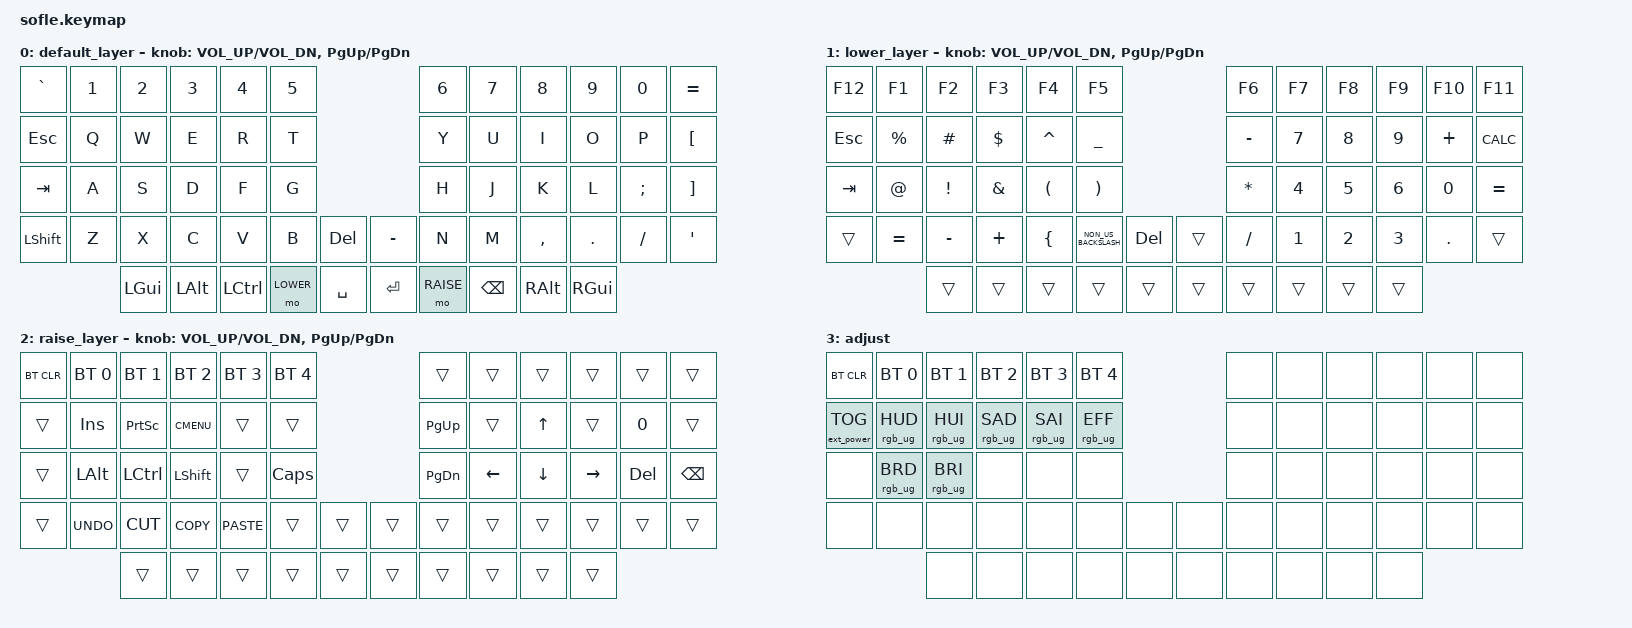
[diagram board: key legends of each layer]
/*
 * Copyright (c) 2020 The ZMK Contributors
 *
 * SPDX-License-Identifier: MIT
 */

#include <behaviors.dtsi>
#include <dt-bindings/zmk/bt.h>
#include <dt-bindings/zmk/ext_power.h>
#include <dt-bindings/zmk/keys.h>
#include <dt-bindings/zmk/rgb.h>

#define BASE 0
#define LOWER 1
#define RAISE 2
#define ADJUST 3

/ {
    // Activate ADJUST layer by pressing raise and lower

    conditional_layers {
        compatible = "zmk,conditional-layers";

        adjust_layer {
            if-layers = <LOWER RAISE>;
            then-layer = <ADJUST>;
        };
    };

    keymap {
        compatible = "zmk,keymap";

        default_layer {
            // ------------------------------------------------------------------------------------------------------------
            // |   `   |  1  |  2  |  3   |  4   |  5   |                   |  6   |  7    |  8    |  9   |   0   |       |
            // |  ESC  |  Q  |  W  |  E   |  R   |  T   |                   |  Y   |  U    |  I    |  O   |   P   | BKSPC |
            // |  TAB  |  A  |  S  |  D   |  F   |  G   |                   |  H   |  J    |  K    |  L   |   ;   |   '   |
            // | SHIFT |  Z  |  X  |  C   |  V   |  B   |  MUTE  |  |       |  N   |  M    |  ,    |  .   |   /   | SHIFT |
            //               | GUI | ALT  | CTRL | LOWER|  ENTER |  | SPACE | RAISE| CTRL  | ALT   | GUI  |

            bindings = <
&kp GRAVE  &kp N1  &kp N2    &kp N3    &kp N4     &kp N5                             &kp N6     &kp N7         &kp N8     &kp N9    &kp N0    &kp EQUAL
&kp ESC    &kp Q   &kp W     &kp E     &kp R      &kp T                              &kp Y      &kp U          &kp I      &kp O     &kp P     &kp LBKT
&kp TAB    &kp A   &kp S     &kp D     &kp F      &kp G                              &kp H      &kp J          &kp K      &kp L     &kp SEMI  &kp RBKT
&kp LSHFT  &kp Z   &kp X     &kp C     &kp V      &kp B      &kp DEL      &kp MINUS  &kp N      &kp M          &kp COMMA  &kp DOT   &kp FSLH  &kp SQT
                   &kp LGUI  &kp LALT  &kp LCTRL  &mo LOWER  &kp SPACE    &kp ENTER  &mo RAISE  &kp BACKSPACE  &kp RALT   &kp RGUI
            >;

            sensor-bindings = <&inc_dec_kp C_VOL_UP C_VOL_DN &inc_dec_kp PG_UP PG_DN>;
        };

        lower_layer {
            // TODO: Some binds are waiting for shifted keycode support.
            // ------------------------------------------------------------------------------------------------------------
            // |       |  F1 |  F2 |  F3  |  F4  |  F5  |                   |  F6  |  F7   |  F8   |  F9  |  F10  |  F11  |
            // |   `   |  1  |  2  |  3   |  4   |  5   |                   |  6   |  7    |  8    |  9   |   0   |  F12  |
            // |       |  !  |  @  |  #   |  $   |  %   |                   |  ^   |  &    |  *    |  (   |   )   |   |   |
            // |       |  =  |  -  |  +   |  {   |  }   |        |  |       |  [   |  ]    |  ;    |  :   |   \   |       |
            //               |     |      |      |      |        |  |       |      |       |       |      |

            bindings = <
&kp F12     &kp F1     &kp F2     &kp F3    &kp F4     &kp F5                                   &kp F6        &kp F7        &kp F8        &kp F9        &kp F10       &kp F11
&kp ESCAPE  &kp PRCNT  &kp HASH   &kp DLLR  &kp CARET  &kp UNDER                                &kp MINUS     &kp N7        &kp N8        &kp N9        &kp PLUS      &kp K_CALC
&kp TAB     &kp AT     &kp EXCL   &kp AMPS  &kp LPAR   &kp RPAR                                 &kp ASTERISK  &kp NUMBER_4  &kp NUMBER_5  &kp NUMBER_6  &kp NUMBER_0  &kp EQUAL
&trans      &kp EQUAL  &kp MINUS  &kp PLUS  &kp LBRC   &kp NON_US_BACKSLASH  &kp DEL    &trans  &kp SLASH     &kp NUMBER_1  &kp NUMBER_2  &kp NUMBER_3  &kp PERIOD    &trans
                       &trans     &trans    &trans     &trans                &trans     &trans  &trans        &trans        &trans        &trans
            >;

            sensor-bindings = <&inc_dec_kp C_VOL_UP C_VOL_DN &inc_dec_kp PG_UP PG_DN>;
        };

        raise_layer {
            // ------------------------------------------------------------------------------------------------------------
            // | BTCLR | BT1  | BT2  |  BT3  |  BT4  |  BT5 |                |      |      |       |      |       |       |
            // |       | INS  | PSCR | GUI   |       |      |                | PGUP |      |   ^   |      |       |       |
            // |       | ALT  | CTRL | SHIFT |       | CAPS |                | PGDN |   <- |   v   |  ->  |  DEL  | BKSPC |
            // |       | UNDO | CUT  | COPY  | PASTE |      |      |  |      |      |      |       |      |       |       |
            //                |      |       |       |      |      |  |      |      |      |       |      |

            bindings = <
&bt BT_CLR  &bt BT_SEL 0  &bt BT_SEL 1  &bt BT_SEL 2  &bt BT_SEL 3  &bt BT_SEL 4                    &trans     &trans    &trans    &trans     &trans   &trans
&trans      &kp INS       &kp PSCRN     &kp K_CMENU   &trans        &trans                          &kp PG_UP  &trans    &kp UP    &trans     &kp N0   &trans
&trans      &kp LALT      &kp LCTRL     &kp LSHFT     &trans        &kp CLCK                        &kp PG_DN  &kp LEFT  &kp DOWN  &kp RIGHT  &kp DEL  &kp BSPC
&trans      &kp K_UNDO    &kp K_CUT     &kp K_COPY    &kp K_PASTE   &trans        &trans    &trans  &trans     &trans    &trans    &trans     &trans   &trans
                          &trans        &trans        &trans        &trans        &trans    &trans  &trans     &trans    &trans    &trans
            >;

            sensor-bindings = <&inc_dec_kp C_VOL_UP C_VOL_DN &inc_dec_kp PG_UP PG_DN>;
        };

        adjust_layer {
            // ----------------------------------------------------------------------------------------------------------------------------
            // | BTCLR  |  BT1    |  BT2    |   BT3   |   BT4   |   BT5   |                  |      |      |       |      |       |       |
            // | EXTPWR | RGB_HUD | RGB_HUI | RGB_SAD | RGB_SAI | RGB_EFF |                  |      |      |       |      |       |       |
            // |        | RGB_BRD | RGB_BRI |         |         |         |                  |      |      |       |      |       |       |
            // |        |         |         |         |         |         | RGB_TOG | |      |      |      |       |      |       |       |
            //                    |         |         |         |         |         | |      |      |      |       |      |

            display-name = "adjust";
            bindings = <
&bt BT_CLR         &bt BT_SEL 0     &bt BT_SEL 1     &bt BT_SEL 2     &bt BT_SEL 3     &bt BT_SEL 4                     &none  &none  &none  &none  &none  &none
&ext_power EP_TOG  &rgb_ug RGB_HUD  &rgb_ug RGB_HUI  &rgb_ug RGB_SAD  &rgb_ug RGB_SAI  &rgb_ug RGB_EFF                  &none  &none  &none  &none  &none  &none
&none              &rgb_ug RGB_BRD  &rgb_ug RGB_BRI  &none            &none            &none                            &none  &none  &none  &none  &none  &none
&none              &none            &none            &none            &none            &none            &none    &none  &none  &none  &none  &none  &none  &none
                                    &none            &none            &none            &none            &none    &none  &none  &none  &none  &none
            >;
        };

        extra1 { status = "reserved"; };

        extra2 { status = "reserved"; };

        extra3 { status = "reserved"; };

        extra4 { status = "reserved"; };
    };
};
